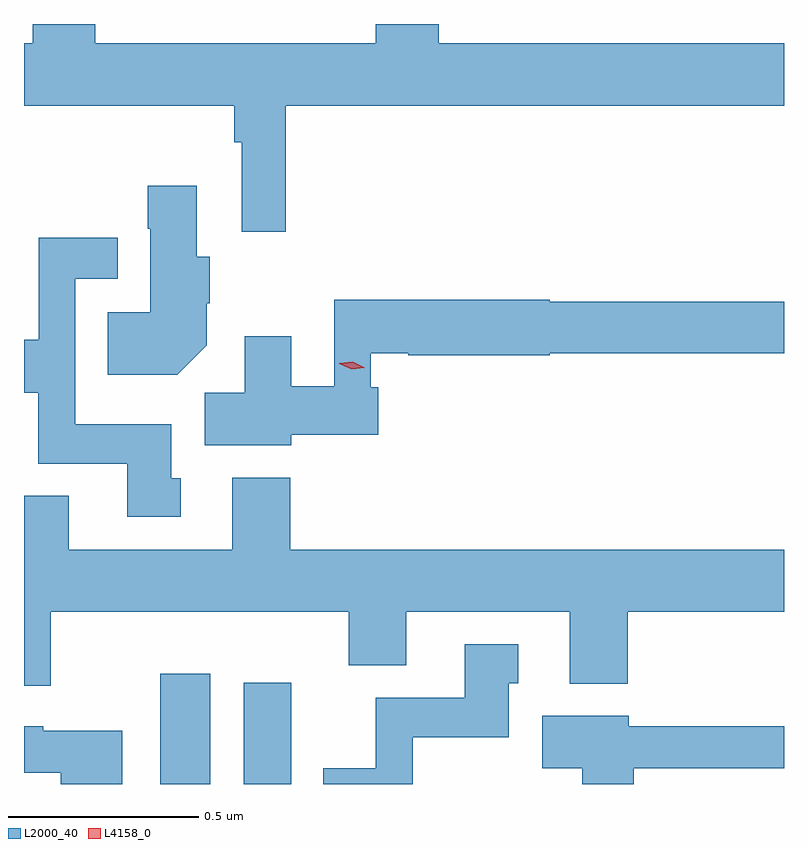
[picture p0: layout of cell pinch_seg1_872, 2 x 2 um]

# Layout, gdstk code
import gdstk
lib = gdstk.Library(unit=1e-6, precision=1e-09)
def R(c, l, rs):  # rectangles x0, y0, x1, y1
    for r in rs: c.add(gdstk.rectangle(r[:2], r[2:], *l))
def P(c, l, *ps):  # polygons
    for p in ps: c.add(gdstk.Polygon(p, *l))
L2000_40 = (2000, 40)
L4158_0 = (4158, 0)

pinch_seg1_872 = lib.new_cell('pinch_seg1_872')
R(pinch_seg1_872, L2000_40, [(373.598,533.963,373.729,534.253), (373.817,533.963,373.942,534.229)])
P(pinch_seg1_872, L2000_40, [(373.928,535.748),(375.239,535.748),(375.239,535.912),(374.33,535.912),(374.33,535.963),(374.165,535.963),(374.165,535.912),(373.427,535.912),(373.427,535.963),(373.262,535.963),(373.262,535.912),(373.239,535.912),(373.239,535.748),(373.792,535.748),(373.792,535.652),(373.812,535.652),(373.812,535.416),(373.928,535.416)],
  [(373.72,535.118),(373.72,535.228),(373.728,535.228),(373.728,535.35),(373.693,535.35),(373.693,535.537),(373.564,535.537),(373.564,535.424),(373.571,535.424),(373.571,535.204),(373.459,535.204),(373.459,535.04),(373.642,535.04)],
  [(373.651,534.768),(373.627,534.768),(373.627,534.91),(373.374,534.91),(373.374,535.293),(373.486,535.293),(373.486,535.401),(373.278,535.401),(373.278,535.132),(373.239,535.132),(373.239,534.992),(373.276,534.992),(373.276,534.806),(373.511,534.806),(373.511,534.666),(373.651,534.666)],
  [(373.942,534.882),(374.171,534.882),(374.171,535.007),(374.151,535.007),(374.151,535.096),(374.25,535.096),(374.25,535.091),(374.622,535.091),(374.622,535.096),(375.239,535.096),(375.239,535.232),(374.622,535.232),(374.622,535.238),(374.055,535.238),(374.055,535.01),(373.942,535.01),(373.942,535.141),(373.82,535.141),(373.82,534.992),(373.715,534.992),(373.715,534.854),(373.942,534.854)],
  [(373.309,534.416),(374.093,534.416),(374.093,534.275),(374.245,534.275),(374.245,534.416),(374.675,534.416),(374.675,534.227),(374.828,534.227),(374.828,534.416),(375.239,534.416),(375.239,534.58),(373.94,534.58),(373.94,534.769),(373.787,534.769),(373.787,534.58),(373.357,534.58),(373.357,534.721),(373.239,534.721),(373.239,534.222),(373.309,534.222)],
  [(374.262,534.086),(374.515,534.086),(374.515,534.228),(374.539,534.228),(374.539,534.331),(374.399,534.331),(374.399,534.19),(374.164,534.19),(374.164,534.004),(374.027,534.004),(374.027,533.963),(374.262,533.963)],
  [(374.843,534.004),(375.239,534.004),(375.239,534.115),(374.83,534.115),(374.83,534.142),(374.603,534.142),(374.603,534.004),(374.708,534.004),(374.708,533.963),(374.843,533.963)],
  [(373.498,534.103),(373.29,534.103),(373.29,534.115),(373.239,534.115),(373.239,533.993),(373.336,533.993),(373.336,533.963),(373.498,533.963)])
P(pinch_seg1_872, L4158_0, [(374.101,535.054),(374.069,535.069),(374.069,535.07),(374.069,535.07),(374.104,535.074),(374.136,535.059),(374.136,535.059),(374.136,535.059)])

lib.write_gds('pinch_seg1_872.gds')
